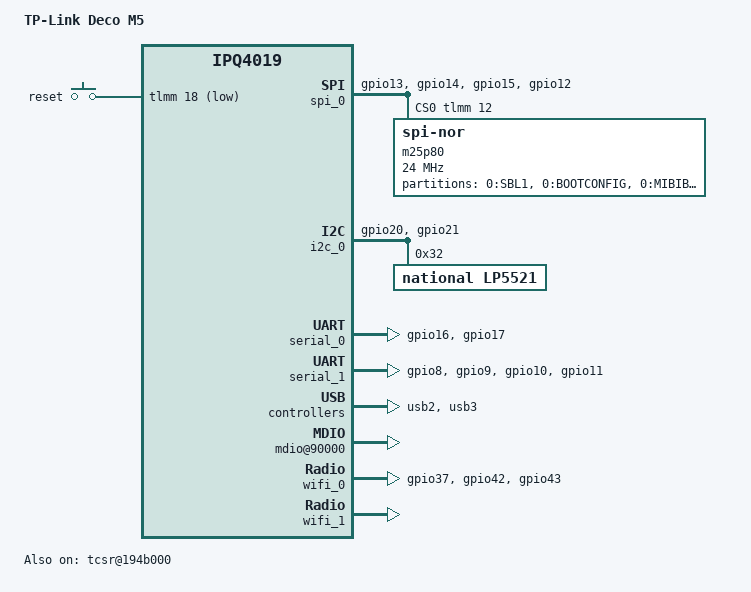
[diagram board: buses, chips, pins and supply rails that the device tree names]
// SPDX-License-Identifier: ISC
// Copyright (c) 2015, The Linux Foundation. All rights reserved.
// Copyright (c) 2021, Frank Veltmans <veltmans.frank@gmail.com>
 
#include "qcom-ipq4019.dtsi"
#include <dt-bindings/gpio/gpio.h>
#include <dt-bindings/input/input.h>
#include <dt-bindings/soc/qcom,tcsr.h>
#include <dt-bindings/leds/common.h>

 / {
	model = "TP-Link Deco M5";
	compatible = "tplink,deco-m5", "qcom,ipq4019";

	chosen {
		bootargs-append = " root=/dev/mtdblock16";
	};

	aliases {
		spi0 = "/soc/spi@78b5000";
		spi1 = "/soc/spi@78b6000";
		i2c0 = "/soc/i2c@78b7000";
		i2c1 = "/soc/i2c@78b8000";
		led-boot = &led_blue;
		led-failsafe = &led_red;
		led-running = &led_green;
		led-upgrade = &led_red;
	};

	keys {
		compatible = "gpio-keys";

		reset {
			label = "reset";
			gpios = <&tlmm 18 GPIO_ACTIVE_LOW>;
			linux,code = <KEY_RESTART>;
		};
	};

	soc {
		interrupt-controller@b000000 {
			compatible = "qcom,msm-qgic2";
			interrupt-controller;
			#interrupt-cells = < 0x03 >;
			reg = < 0xb000000 0x1000 0xb002000 0x1000 >;
			linux,phandle = < 0x01 >;
			phandle = < 0x01 >;
		};

		pinctrl@1000000 {
			serial_0_pins: serial_0_pinmux {
				pinmux {
					pins = "gpio16", "gpio17";
					function = "blsp_uart0";
					bias-disable;
				};
			};

			serial_1_pins: serial_1_pinmux {
				pinmux {
					pins = "gpio8", "gpio9", "gpio10", "gpio11";
					function = "blsp_uart1";
					bias-disable;
				};
			};

			spi_0_pins: spi_0_pinmux {
				pinmux {
					pins = "gpio13", "gpio14", "gpio15";
					function = "blsp_spi0";
				};
				pinmux_cs {
					pins = "gpio12";
					function = "gpio";
				};
				pinconf {
					pins = "gpio13", "gpio14", "gpio15";
					drive-strength = <12>;
					bias-disable;
				};
				pinconf_cs {
					pins = "gpio12";
					drive-strength = <2>;
					bias-disable;
					output-high;
				};
			};

			i2c_0_pins: i2c_0_pinmux {
				pinmux {
					pins = "gpio20", "gpio21";
					function = "blsp_i2c0";
				};
				pinconf {
					pins = "gpio20", "gpio21";
					drive-strength = <16>;
					bias-disable;
				};
			};

			wifi_pins: wifi_pinmux {
				pinmux_1 {
					pins = "gpio37";
					function = "gpio";
					drive-strength = <6>;
					bias-pull-up;
					output-high;
				};

				pinmux_2 {
					pins = "gpio42";
					function = "gpio";
					drive-strength = <6>;
					bias-pull-up;
					output-high;
				};

				pinmux_3 {
					pins = "gpio43";
					function = "gpio";
					drive-strength = <6>;
					bias-pull-up;
				};
			};
		};

		blsp_dma: dma@7884000 {
			status = "okay";
		};

		spi_0: spi@78b5000 {
			pinctrl-0 = <&spi_0_pins>;
			pinctrl-names = "default";
			status = "okay";
			cs-gpios = <&tlmm 12 GPIO_ACTIVE_HIGH>;

			m25p80@0 {
				#address-cells = <1>;
				#size-cells = <0>;
				reg = <0>;
				compatible = "jedec,spi-nor";
				spi-max-frequency = <24000000>;
				
				partitions {
					#address-cells = <1>;
					#size-cells = <1>;
					compatible = "fixed-partitions";

					partition0@0 {
						label = "0:SBL1";
						reg = <0x00000000 0x00030000>;
						read-only;
					};
					partition1@30000 {
						label = "0:BOOTCONFIG";
						reg = <0x00030000 0x00010000>;
						read-only;
					};
					partition2@40000 {
						label = "0:MIBIB";
						reg = <0x00040000 0x00010000>;
						read-only;
					};
					partition3@50000 {
						label = "0:BOOTCONFIG1";
						reg = <0x00050000 0x00010000>;
						read-only;
					};
					partition4@60000 {
						label = "0:QSEE";
						reg = <0x00060000 0x00060000>;
						read-only;
					};
					partition5@c0000 {
						label = "0:CDT";
						reg = <0x000c0000 0x00010000>;
						read-only;
					};
					partition6@d0000 {
						label = "0:DDRPARAMS";
						reg = <0x000d0000 0x00010000>;
						read-only;
					};
					partition7@e0000 {
						label = "0:APPSBLENV";
						reg = <0x000e0000 0x00010000>;
						read-only;
					};
					partition8@f0000 {
						label = "0:APPSBL";
						reg = <0x000f0000 0x00080000>;
						read-only;
					};
					partition9@170000 {
						label = "0:ART";
						reg = <0x00170000 0x00010000>;
						read-only;
					};
					partition10@180000 {
						label = "OPAQUE";
						reg = <0x00180000 0x000c0000>;
						read-only;
					};
					partition11@240000 {
						label = "0:HLOS";
						reg = <0x00240000 0x00300000>;
						read-only;
					};
					partition12@540000 {
						label = "0:rootfs";
						reg = <0x00540000 0x007d0000>;
						read-only;
					};
					partition13@d10000 {
						label = "0:APPSBL_1";
						reg = <0x00d10000 0x00080000>;
						read-only;
					};
					partition14@d90000 {
						label = "firmware";
						reg = <0x00d90000 0x01040000>;
					};
				};
			};
		};

		i2c_0: i2c@78b7000 {
			pinctrl-0 = <&i2c_0_pins>;
			pinctrl-names = "default";
			status = "okay";
				lp5521@32 {
				compatible = "national,lp5521";
				reg = <0x32>;
				clock-mode = /bits/ 8 <2>;
				led_red: led@0 {
					reg = <0>;
					chan-name = "fault:red";
					led-cur = /bits/ 8 <0x2f>;
					max-cur = /bits/ 8 <0x5f>;
					color = <LED_COLOR_ID_RED>;
					function = LED_FUNCTION_FAULT;
				};
				led_green: led@1 {
					reg = <1>;
					chan-name = "power:green";
					led-cur = /bits/ 8 <0x2f>;
					max-cur = /bits/ 8 <0x5f>;
					color = <LED_COLOR_ID_GREEN>;
					function = LED_FUNCTION_POWER;
				};
				led_blue: led@2{
					reg = <2>;
					chan-name = "boot:blue";
					led-cur = /bits/ 8 <0x2f>;
					max-cur = /bits/ 8 <0x5f>;
					color = <LED_COLOR_ID_BLUE>;
				};
			};

		};

		serial_0: serial@78af000 {
			pinctrl-0 = <&serial_0_pins>;
			pinctrl-names = "default";
			status = "okay";
		};

		serial_1: serial@78b0000 {
			pinctrl-0 = <&serial_1_pins>;
			pinctrl-names = "default";
			status = "okay";
		};
		
		tcsr@194b000 {
			compatible = "qcom,tcsr";
			reg = <0x194b000 0x100>;
			qcom,usb-hsphy-mode-select = <TCSR_USB_HSPHY_HOST_MODE>;
			status = "okay";
		};
		
		usb2: usb2@60f8800 {
			status = "okay";
		};
		
		usb2_hs_phy: hsphy@a8000 {
			status = "okay";
		};
		
		usb3: usb3@8af8800 {
			status = "okay";
		};

		usb3_hs_phy: hsphy@a6000 {
			status = "okay";
		};
		
		usb3_ss_phy: ssphy@9a000 {
			status = "okay";
		};

		crypto@8e3a000 {
			status = "okay";
		};

		cryptobam: dma@8e04000 {
			status = "okay";
		};

		watchdog@b017000 {
			status = "okay";
		};
		
		edma@c080000 {
			status = "okay";

			gmac0 {
				qcom,poll_required = <0x1>;
				qcom,phy_mdio_addr = <0x4>;
				vlan_tag = <0x2 0x20>;
			};

			gmac1 {
				qcom,poll_required = <0x1>;
				qcom,phy_mdio_addr = <0x3>;
				vlan_tag = <0x1 0x1e>;
			};
		};

        ess-switch@c000000 {
			status = "okay";
		};

        ess_tcsr@1953000 {
			compatible = "qcom,tcsr";
			reg = <0x1953000 0x1000>;
			qcom,ess-interface-select = <TCSR_ESS_PSGMII>;
		};

        ess-psgmii@98000 {
			status = "okay";
		};

        mdio@90000 {
			status = "okay";
		};

		tcsr@1949000 {
			compatible = "qcom,tcsr";
			reg = <0x1949000 0x100>;
			qcom,wifi_glb_cfg = <TCSR_WIFI_GLB_CFG>;
		};

		tcsr@1957000 {
			compatible = "qcom,tcsr";
			reg = <0x1957000 0x100>;
			qcom,wifi_noc_memtype_m0_m2 = <TCSR_WIFI_NOC_MEMTYPE_M0_M2>;
		};

		wifi_0: wifi@a000000 {
			pinctrl-0 = <&wifi_pins>;
			pinctrl-names = "default";
			qcom,ath10k-calibration-variant = "TP-Link_Deco_M5_EU_v3.0";
			status = "okay";
		};

		wifi_1: wifi@a800000 {
			qcom,ath10k-calibration-variant = "TP-Link_Deco_M5_EU_v3.0";
			status = "okay";
		};
	};
};
